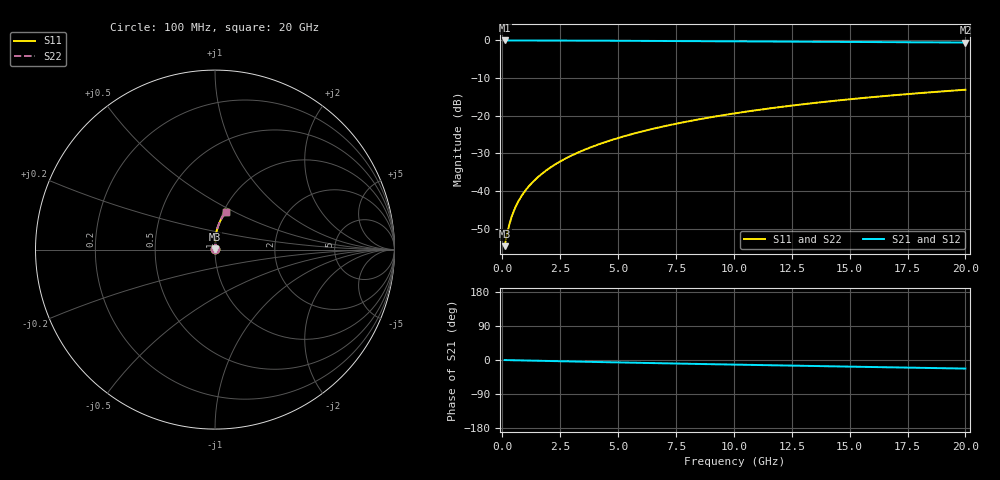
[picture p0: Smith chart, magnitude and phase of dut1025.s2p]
! Touchstone file exported from HFSS 2024.1.0
!  File:  C:/UserFiles/LocalFiles/RDL_TSV_Batchsim/temp_RDL_top_1025_1780043363.aedt
!  Generated:  04:31:52 PM May 29, 2026
!  Design:  RDL_top
!  Project:  temp_RDL_top_1025_1780043363
!  Setup:  Setup1
!  Solution:  Sweep
! Variables:
!  dtsv = 10.80580581um
!  hbump = 3um
!  htsv = 86.11um
!  ldown = 100um
!  lrdl = 311.77um
!  p = 40
!  p1 = 45.34um
!  rhole = 1um
!  t = 450um
!  tdown = 3.915915916um
!  trdl = 3.93um
!  wdown = 15.38538539um
!  wrdl = 21.61um
# GHz S MA R 50.000000
! Terminal data exported
! Port[1] = Box2_T1
! Port[2] = Box2_T2
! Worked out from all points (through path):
!   200 points, 100 MHz to 20 GHz, reference 50 ohm
!   highest |S21| = -0.01 dB at 100 MHz (marker M1); lowest = -0.6 dB at 20 GHz (marker M2)
!   group delay of S21, straight-line fit = 3.11 ps
!   lowest |S11| = -54.7 dB at 100 MHz (marker M3), VSWR 1.00, Z = 50.1 + j0.109 ohm
!   |S11| at or under -10 dB: start of sweep to end of sweep
!   |S22| runs from -54.7 to -13.1 dB; largest |S21 - S12| = 2e-15
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0.1  0.001845 36.0  0.9985 -0.1  0.9985 -0.1  0.001845 36.0
! Gamma 0 0 0 0
! Port Impedance 50 0 50 0
0.2  0.002641 54.4  0.9984 -0.3  0.9984 -0.3  0.002641 54.4
0.3  0.003559 63.4  0.9983 -0.4  0.9983 -0.4  0.003559 63.4
0.4  0.004501 68.5  0.9982 -0.5  0.9982 -0.5  0.004501 68.5
0.5  0.005443 71.8  0.9981 -0.7  0.9981 -0.7  0.005443 71.8
0.6  0.006382 74.2  0.9981 -0.8  0.9981 -0.8  0.006381 74.2
0.8  0.008255 77.5  0.9979 -1.1  0.9979 -1.1  0.008254 77.5
1.1  0.01108 80.5  0.9976 -1.5  0.9976 -1.5  0.01108 80.5
1.3  0.01298 81.9  0.9974 -1.7  0.9974 -1.7  0.01298 81.9
1.6  0.01585 83.4  0.997 -2.1  0.997 -2.1  0.01585 83.4
2.1  0.02071 85.0  0.9963 -2.8  0.9963 -2.8  0.02071 85.0
2.7  0.02664 86.2  0.9951 -3.5  0.9951 -3.5  0.02664 86.2
3.5  0.03472 87.0  0.9933 -4.5  0.9933 -4.5  0.03472 87.0
4.2  0.04196 87.4  0.9914 -5.4  0.9914 -5.4  0.04197 87.4
5  0.05043 87.6  0.989 -6.4  0.989 -6.4  0.05044 87.6
5.9  0.06019 87.4  0.9861 -7.5  0.9861 -7.5  0.0602 87.4
6.8  0.07018 87.1  0.9831 -8.5  0.9831 -8.5  0.07018 87.1
8.4  0.08835 86.1  0.9775 -10.4  0.9775 -10.4  0.08836 86.1
10.1  0.1081 84.6  0.9715 -12.3  0.9715 -12.3  0.1081 84.6
13.4  0.1466 81.1  0.9599 -15.8  0.9599 -15.8  0.1466 81.2
16.7  0.1845 77.4  0.9484 -19.3  0.9484 -19.3  0.1846 77.4
20  0.2211 73.6  0.9367 -22.6  0.9367 -22.6  0.2212 73.6
